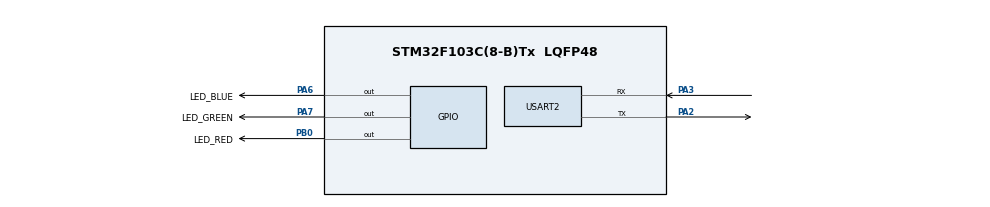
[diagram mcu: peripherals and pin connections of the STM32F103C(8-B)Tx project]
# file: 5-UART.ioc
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Mcu.Family=STM32F1
Mcu.Name=STM32F103C(8-B)Tx
Mcu.Package=LQFP48
NVIC.PriorityGroup=NVIC_PRIORITYGROUP_4
PA13.Mode=Serial_Wire
PA13.Signal=SYS_JTMS-SWDIO
PA14.Mode=Serial_Wire
PA14.Signal=SYS_JTCK-SWCLK
PA2.Mode=Asynchronous
PA2.Signal=USART2_TX
PA3.Mode=Asynchronous
PA3.Signal=USART2_RX
PA6.GPIO_Label=LED_BLUE
PA6.Signal=GPIO_Output
PA7.GPIO_Label=LED_GREEN
PA7.Signal=GPIO_Output
PB0.GPIO_Label=LED_RED
PB0.Signal=GPIO_Output
ProjectManager.HeapSize=0x200
ProjectManager.StackSize=0x400
ProjectManager.TargetToolchain=STM32CubeIDE
RCC.APB1Freq_Value=8000000
RCC.APB2Freq_Value=8000000
USART2.VirtualMode=VM_ASYNC
board=custom

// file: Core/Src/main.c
/* USER CODE BEGIN Header */
/**
 *
 *This example has a few problem
 *1. UART2 - receive and transmit are always occupying CPU resource (in while loop)
 *2. receive must wait for the predefine length of char within time
 *2.
  ******************************************************************************
  * @file           : main.c
  * @brief          : Main program body
  ******************************************************************************
  * @attention
  *
  * Copyright (c) 2024 STMicroelectronics.
  * All rights reserved.
  *
  * This software is licensed under terms that can be found in the LICENSE file
  * in the root directory of this software component.
  * If no LICENSE file comes with this software, it is provided AS-IS.
  *
  ******************************************************************************
  */
/* USER CODE END Header */
#include "main.h"

/* USER CODE BEGIN Includes */
#include <string.h>
/* USER CODE END Includes */

UART_HandleTypeDef huart2;

void SystemClock_Config(void);
static void MX_GPIO_Init(void);
static void MX_USART2_UART_Init(void);

int main(void)
{

  /* MCU Configuration--------------------------------------------------------*/

  /* Reset of all peripherals, Initializes the Flash interface and the Systick. */
  HAL_Init();

  /* Configure the system clock */
  SystemClock_Config();

  /* Initialize all configured peripherals */
  MX_GPIO_Init();
  MX_USART2_UART_Init();
  /* USER CODE BEGIN 2 */
  //char message[] = "Hello World\n";

  uint8_t receiveData[2];

  /* USER CODE END 2 */

  /* Infinite loop */
  /* USER CODE BEGIN WHILE */
  while (1)
  {
	  /* Another process */
	  //HAL_Delay(2000);

	  /* UART Polling Mode */
	  HAL_UART_Receive(&huart2, receiveData, 2, HAL_MAX_DELAY);
	  HAL_UART_Transmit(&huart2, receiveData, 2, 100);
	  GPIO_PinState state = GPIO_PIN_SET;

	  if (receiveData[1]=='0'){
		  state = GPIO_PIN_RESET;
	  }else if (receiveData[1]=='1') {
		  state = GPIO_PIN_SET;

	  }

	  if (receiveData[0]=='R'){
		  HAL_GPIO_WritePin(LED_RED_GPIO_Port, LED_RED_Pin, state);

	  }else if (receiveData[0]=='G') {
		  HAL_GPIO_WritePin(LED_GREEN_GPIO_Port, LED_GREEN_Pin, state);
	  }else if (receiveData[0]=='B') {
		  HAL_GPIO_WritePin(LED_BLUE_GPIO_Port, LED_BLUE_Pin, state);
	  }

//	  HAL_UART_Transmit(&huart2, (uint8_t*)message, strlen(message), 100);
//	  HAL_Delay(100);
    /* USER CODE END WHILE */

  }
}

void SystemClock_Config(void)
{
  RCC_OscInitTypeDef RCC_OscInitStruct = {0};
  RCC_ClkInitTypeDef RCC_ClkInitStruct = {0};

  /** Initializes the RCC Oscillators according to the specified parameters
  * in the RCC_OscInitTypeDef structure.
  */
  RCC_OscInitStruct.OscillatorType = RCC_OSCILLATORTYPE_HSI;
  RCC_OscInitStruct.HSIState = RCC_HSI_ON;
  RCC_OscInitStruct.HSICalibrationValue = RCC_HSICALIBRATION_DEFAULT;
  RCC_OscInitStruct.PLL.PLLState = RCC_PLL_NONE;
  if (HAL_RCC_OscConfig(&RCC_OscInitStruct) != HAL_OK)
  {
    Error_Handler();
  }

  /** Initializes the CPU, AHB and APB buses clocks
  */
  RCC_ClkInitStruct.ClockType = RCC_CLOCKTYPE_HCLK|RCC_CLOCKTYPE_SYSCLK
                              |RCC_CLOCKTYPE_PCLK1|RCC_CLOCKTYPE_PCLK2;
  RCC_ClkInitStruct.SYSCLKSource = RCC_SYSCLKSOURCE_HSI;
  RCC_ClkInitStruct.AHBCLKDivider = RCC_SYSCLK_DIV1;
  RCC_ClkInitStruct.APB1CLKDivider = RCC_HCLK_DIV1;
  RCC_ClkInitStruct.APB2CLKDivider = RCC_HCLK_DIV1;

  if (HAL_RCC_ClockConfig(&RCC_ClkInitStruct, FLASH_LATENCY_0) != HAL_OK)
  {
    Error_Handler();
  }
}

static void MX_USART2_UART_Init(void)
{

  huart2.Instance = USART2;
  huart2.Init.BaudRate = 115200;
  huart2.Init.WordLength = UART_WORDLENGTH_8B;
  huart2.Init.StopBits = UART_STOPBITS_1;
  huart2.Init.Parity = UART_PARITY_NONE;
  huart2.Init.Mode = UART_MODE_TX_RX;
  huart2.Init.HwFlowCtl = UART_HWCONTROL_NONE;
  huart2.Init.OverSampling = UART_OVERSAMPLING_16;
  if (HAL_UART_Init(&huart2) != HAL_OK)
  {
    Error_Handler();
  }

}

static void MX_GPIO_Init(void)
{
  GPIO_InitTypeDef GPIO_InitStruct = {0};

  /* GPIO Ports Clock Enable */
  __HAL_RCC_GPIOA_CLK_ENABLE();
  __HAL_RCC_GPIOB_CLK_ENABLE();

  /*Configure GPIO pin Output Level */
  HAL_GPIO_WritePin(GPIOA, LED_BLUE_Pin|LED_GREEN_Pin, GPIO_PIN_RESET);

  /*Configure GPIO pin Output Level */
  HAL_GPIO_WritePin(LED_RED_GPIO_Port, LED_RED_Pin, GPIO_PIN_RESET);

  /*Configure GPIO pins : LED_BLUE_Pin LED_GREEN_Pin */
  GPIO_InitStruct.Pin = LED_BLUE_Pin|LED_GREEN_Pin;
  GPIO_InitStruct.Mode = GPIO_MODE_OUTPUT_PP;
  GPIO_InitStruct.Pull = GPIO_NOPULL;
  GPIO_InitStruct.Speed = GPIO_SPEED_FREQ_LOW;
  HAL_GPIO_Init(GPIOA, &GPIO_InitStruct);

  /*Configure GPIO pin : LED_RED_Pin */
  GPIO_InitStruct.Pin = LED_RED_Pin;
  GPIO_InitStruct.Mode = GPIO_MODE_OUTPUT_PP;
  GPIO_InitStruct.Pull = GPIO_NOPULL;
  GPIO_InitStruct.Speed = GPIO_SPEED_FREQ_LOW;
  HAL_GPIO_Init(LED_RED_GPIO_Port, &GPIO_InitStruct);

}

void Error_Handler(void)
{
  __disable_irq();
  while (1)
  {
  }
}
